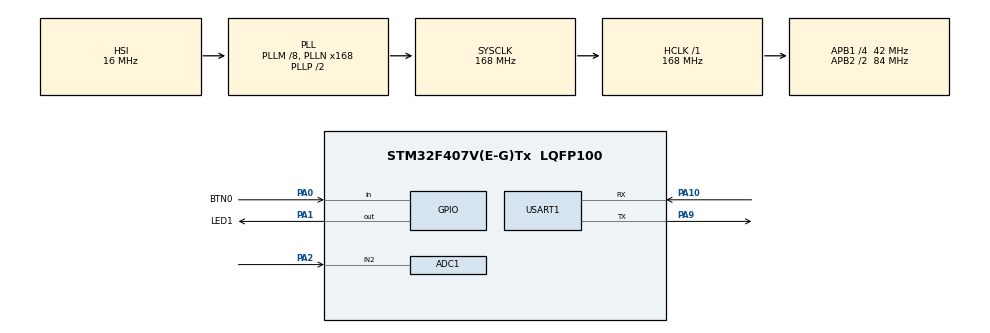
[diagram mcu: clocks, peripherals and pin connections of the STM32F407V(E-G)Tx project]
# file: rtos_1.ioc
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ADC1.Channel-0\#ChannelRegularConversion=ADC_CHANNEL_2
ADC1.NbrOfConversionFlag=1
ADC1.Rank-0\#ChannelRegularConversion=1
ADC1.SamplingTime-0\#ChannelRegularConversion=ADC_SAMPLETIME_3CYCLES
ADC1.master=1
FREERTOS.Tasks01=defaultTask,24,128,StartDefaultTask,Default,NULL,Dynamic,NULL,NULL;buttonTask,24,128,startButtonTask,Default,NULL,Dynamic,NULL,NULL;ledTask,8,128,startLedTask,Default,NULL,Dynamic,NULL,NULL;serialTask,25,128,startSerialTask,Default,NULL,Dynamic,NULL,NULL;adcTask,23,128,startAdcTask,Default,NULL,Dynamic,NULL,NULL
Mcu.Family=STM32F4
Mcu.Name=STM32F407V(E-G)Tx
Mcu.Package=LQFP100
NVIC.PriorityGroup=NVIC_PRIORITYGROUP_4
NVIC.TIM1_UP_TIM10_IRQn=true\:15\:0\:false\:false\:true\:false\:false\:true\:true
NVIC.TimeBase=TIM1_UP_TIM10_IRQn
NVIC.TimeBaseIP=TIM1
PA0-WKUP.GPIO_Label=BTN0
PA0-WKUP.GPIO_PuPd=GPIO_PULLDOWN
PA0-WKUP.Signal=GPIO_Input
PA1.GPIO_Label=LED1
PA1.Signal=GPIO_Output
PA10.Mode=Asynchronous
PA10.Signal=USART1_RX
PA13.Mode=Serial_Wire
PA13.Signal=SYS_JTMS-SWDIO
PA14.Mode=Serial_Wire
PA14.Signal=SYS_JTCK-SWCLK
PA2.Signal=ADCx_IN2
PA9.Mode=Asynchronous
PA9.Signal=USART1_TX
ProjectManager.HeapSize=0x200
ProjectManager.StackSize=0x400
ProjectManager.TargetToolchain=STM32CubeIDE
RCC.48MHZClocksFreq_Value=84000000
RCC.AHBFreq_Value=168000000
RCC.APB1CLKDivider=RCC_HCLK_DIV4
RCC.APB1Freq_Value=42000000
RCC.APB1TimFreq_Value=84000000
RCC.APB2CLKDivider=RCC_HCLK_DIV2
RCC.APB2Freq_Value=84000000
RCC.APB2TimFreq_Value=168000000
RCC.CortexFreq_Value=168000000
RCC.HCLKFreq_Value=168000000
RCC.HSE_VALUE=25000000
RCC.HSI_VALUE=16000000
RCC.LSE_VALUE=32768
RCC.PLLM=8
RCC.PLLN=168
RCC.SYSCLKFreq_VALUE=168000000
RCC.SYSCLKSource=RCC_SYSCLKSOURCE_PLLCLK
RCC.VCOOutputFreq_Value=336000000
SH.ADCx_IN2.0=ADC1_IN2,IN2
USART1.VirtualMode=VM_ASYNC
VP_FREERTOS_VS_CMSIS_V2.Mode=CMSIS_V2
VP_SYS_VS_tim1.Mode=TIM1
board=custom

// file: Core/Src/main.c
/* USER CODE BEGIN Header */
/**
  ******************************************************************************
  * @file           : main.c
  * @brief          : Main program body
  ******************************************************************************
  * @attention
  *
  * Copyright (c) 2024 STMicroelectronics.
  * All rights reserved.
  *
  * This software is licensed under terms that can be found in the LICENSE file
  * in the root directory of this software component.
  * If no LICENSE file comes with this software, it is provided AS-IS.
  *
  ******************************************************************************
  */
/* USER CODE END Header */
#include "main.h"
#include "cmsis_os.h"
#include "stdio.h"

ADC_HandleTypeDef hadc1;

UART_HandleTypeDef huart1;

/* Definitions for defaultTask */
osThreadId_t defaultTaskHandle;
const osThreadAttr_t defaultTask_attributes = {
  .name = "defaultTask",
  .stack_size = 128 * 4,
  .priority = (osPriority_t) osPriorityNormal,
};
/* Definitions for buttonTask */
osThreadId_t buttonTaskHandle;
const osThreadAttr_t buttonTask_attributes = {
  .name = "buttonTask",
  .stack_size = 128 * 4,
  .priority = (osPriority_t) osPriorityNormal,
};
/* Definitions for ledTask */
osThreadId_t ledTaskHandle;
const osThreadAttr_t ledTask_attributes = {
  .name = "ledTask",
  .stack_size = 128 * 4,
  .priority = (osPriority_t) osPriorityLow,
};
/* Definitions for serialTask */
osThreadId_t serialTaskHandle;
const osThreadAttr_t serialTask_attributes = {
  .name = "serialTask",
  .stack_size = 128 * 4,
  .priority = (osPriority_t) osPriorityNormal1,
};
/* Definitions for adcTask */
osThreadId_t adcTaskHandle;
const osThreadAttr_t adcTask_attributes = {
  .name = "adcTask",
  .stack_size = 128 * 4,
  .priority = (osPriority_t) osPriorityBelowNormal7,
};

void SystemClock_Config(void);
static void MX_GPIO_Init(void);
static void MX_ADC1_Init(void);
static void MX_USART1_UART_Init(void);
void StartDefaultTask(void *argument);
void startButtonTask(void *argument);
void startLedTask(void *argument);
void startSerialTask(void *argument);
void startAdcTask(void *argument);

/* USER CODE BEGIN 0 */
uint8_t btn0Pos;
uint8_t serialBtnFlag;
uint8_t x_val;
/* USER CODE END 0 */

int main(void)
{

  /* MCU Configuration--------------------------------------------------------*/

  /* Reset of all peripherals, Initializes the Flash interface and the Systick. */
  HAL_Init();

  /* Configure the system clock */
  SystemClock_Config();

  /* Initialize all configured peripherals */
  MX_GPIO_Init();
  MX_ADC1_Init();
  MX_USART1_UART_Init();

  /* Init scheduler */
  osKernelInitialize();

  /* Create the thread(s) */
  /* creation of defaultTask */
  defaultTaskHandle = osThreadNew(StartDefaultTask, NULL, &defaultTask_attributes);

  /* creation of buttonTask */
  buttonTaskHandle = osThreadNew(startButtonTask, NULL, &buttonTask_attributes);

  /* creation of ledTask */
  ledTaskHandle = osThreadNew(startLedTask, NULL, &ledTask_attributes);

  /* creation of serialTask */
  serialTaskHandle = osThreadNew(startSerialTask, NULL, &serialTask_attributes);

  /* creation of adcTask */
  adcTaskHandle = osThreadNew(startAdcTask, NULL, &adcTask_attributes);

  /* Start scheduler */
  osKernelStart();

  /* We should never get here as control is now taken by the scheduler */

  /* Infinite loop */
  while (1)
  {

  }
}

void SystemClock_Config(void)
{
  RCC_OscInitTypeDef RCC_OscInitStruct = {0};
  RCC_ClkInitTypeDef RCC_ClkInitStruct = {0};

  /** Configure the main internal regulator output voltage
  */
  __HAL_RCC_PWR_CLK_ENABLE();
  __HAL_PWR_VOLTAGESCALING_CONFIG(PWR_REGULATOR_VOLTAGE_SCALE1);

  /** Initializes the RCC Oscillators according to the specified parameters
  * in the RCC_OscInitTypeDef structure.
  */
  RCC_OscInitStruct.OscillatorType = RCC_OSCILLATORTYPE_HSI;
  RCC_OscInitStruct.HSIState = RCC_HSI_ON;
  RCC_OscInitStruct.HSICalibrationValue = RCC_HSICALIBRATION_DEFAULT;
  RCC_OscInitStruct.PLL.PLLState = RCC_PLL_ON;
  RCC_OscInitStruct.PLL.PLLSource = RCC_PLLSOURCE_HSI;
  RCC_OscInitStruct.PLL.PLLM = 8;
  RCC_OscInitStruct.PLL.PLLN = 168;
  RCC_OscInitStruct.PLL.PLLP = RCC_PLLP_DIV2;
  RCC_OscInitStruct.PLL.PLLQ = 4;
  if (HAL_RCC_OscConfig(&RCC_OscInitStruct) != HAL_OK)
  {
    Error_Handler();
  }

  /** Initializes the CPU, AHB and APB buses clocks
  */
  RCC_ClkInitStruct.ClockType = RCC_CLOCKTYPE_HCLK|RCC_CLOCKTYPE_SYSCLK
                              |RCC_CLOCKTYPE_PCLK1|RCC_CLOCKTYPE_PCLK2;
  RCC_ClkInitStruct.SYSCLKSource = RCC_SYSCLKSOURCE_PLLCLK;
  RCC_ClkInitStruct.AHBCLKDivider = RCC_SYSCLK_DIV1;
  RCC_ClkInitStruct.APB1CLKDivider = RCC_HCLK_DIV4;
  RCC_ClkInitStruct.APB2CLKDivider = RCC_HCLK_DIV2;

  if (HAL_RCC_ClockConfig(&RCC_ClkInitStruct, FLASH_LATENCY_5) != HAL_OK)
  {
    Error_Handler();
  }
}

static void MX_ADC1_Init(void)
{

  ADC_ChannelConfTypeDef sConfig = {0};

  /** Configure the global features of the ADC (Clock, Resolution, Data Alignment and number of conversion)
  */
  hadc1.Instance = ADC1;
  hadc1.Init.ClockPrescaler = ADC_CLOCK_SYNC_PCLK_DIV4;
  hadc1.Init.Resolution = ADC_RESOLUTION_12B;
  hadc1.Init.ScanConvMode = DISABLE;
  hadc1.Init.ContinuousConvMode = DISABLE;
  hadc1.Init.DiscontinuousConvMode = DISABLE;
  hadc1.Init.ExternalTrigConvEdge = ADC_EXTERNALTRIGCONVEDGE_NONE;
  hadc1.Init.ExternalTrigConv = ADC_SOFTWARE_START;
  hadc1.Init.DataAlign = ADC_DATAALIGN_RIGHT;
  hadc1.Init.NbrOfConversion = 1;
  hadc1.Init.DMAContinuousRequests = DISABLE;
  hadc1.Init.EOCSelection = ADC_EOC_SINGLE_CONV;
  if (HAL_ADC_Init(&hadc1) != HAL_OK)
  {
    Error_Handler();
  }

  /** Configure for the selected ADC regular channel its corresponding rank in the sequencer and its sample time.
  */
  sConfig.Channel = ADC_CHANNEL_2;
  sConfig.Rank = 1;
  sConfig.SamplingTime = ADC_SAMPLETIME_3CYCLES;
  if (HAL_ADC_ConfigChannel(&hadc1, &sConfig) != HAL_OK)
  {
    Error_Handler();
  }

}

static void MX_USART1_UART_Init(void)
{

  huart1.Instance = USART1;
  huart1.Init.BaudRate = 115200;
  huart1.Init.WordLength = UART_WORDLENGTH_8B;
  huart1.Init.StopBits = UART_STOPBITS_1;
  huart1.Init.Parity = UART_PARITY_NONE;
  huart1.Init.Mode = UART_MODE_TX_RX;
  huart1.Init.HwFlowCtl = UART_HWCONTROL_NONE;
  huart1.Init.OverSampling = UART_OVERSAMPLING_16;
  if (HAL_UART_Init(&huart1) != HAL_OK)
  {
    Error_Handler();
  }

}

static void MX_GPIO_Init(void)
{
  GPIO_InitTypeDef GPIO_InitStruct = {0};

  /* GPIO Ports Clock Enable */
  __HAL_RCC_GPIOA_CLK_ENABLE();

  /*Configure GPIO pin Output Level */
  HAL_GPIO_WritePin(LED1_GPIO_Port, LED1_Pin, GPIO_PIN_RESET);

  /*Configure GPIO pin : BTN0_Pin */
  GPIO_InitStruct.Pin = BTN0_Pin;
  GPIO_InitStruct.Mode = GPIO_MODE_INPUT;
  GPIO_InitStruct.Pull = GPIO_PULLDOWN;
  HAL_GPIO_Init(BTN0_GPIO_Port, &GPIO_InitStruct);

  /*Configure GPIO pin : LED1_Pin */
  GPIO_InitStruct.Pin = LED1_Pin;
  GPIO_InitStruct.Mode = GPIO_MODE_OUTPUT_PP;
  GPIO_InitStruct.Pull = GPIO_NOPULL;
  GPIO_InitStruct.Speed = GPIO_SPEED_FREQ_LOW;
  HAL_GPIO_Init(LED1_GPIO_Port, &GPIO_InitStruct);

}

void StartDefaultTask(void *argument)
{
  for(;;)
  {
    osDelay(1);
  }
}

void startButtonTask(void *argument)
{
  /* USER CODE BEGIN startButtonTask */
  /* Infinite loop */
  for(;;)
  {
    if(HAL_GPIO_ReadPin(BTN0_GPIO_Port, BTN0_Pin) == 0){
    	HAL_GPIO_WritePin(LED1_GPIO_Port, LED1_Pin, 1);
    	btn0Pos = 1;
//	    HAL_GPIO_TogglePin(LED1_GPIO_Port, LED1_Pin);
    }
    if(HAL_GPIO_ReadPin(BTN0_GPIO_Port, BTN0_Pin) == 1){
		HAL_GPIO_WritePin(LED1_GPIO_Port, LED1_Pin, 0);
		btn0Pos = 0;
	}
    osDelay(200);
  }
  /* USER CODE END startButtonTask */
}

void startLedTask(void *argument)
{
  /* USER CODE BEGIN startLedTask */
  /* Infinite loop */
  for(;;)
  {
	if(btn0Pos != 1 || serialBtnFlag == 1){
		HAL_GPIO_TogglePin(LED1_GPIO_Port, LED1_Pin);
		osDelay(100);
	}
	else{
		osDelay(100);
	}
  }
  /* USER CODE END startLedTask */
}

void startSerialTask(void *argument)
{
  /* USER CODE BEGIN startSerialTask */
	uint8_t choice;
	char buffer[100];
  /* Infinite loop */
  for(;;)
  {
	  if (HAL_UART_Receive(&huart1, &choice, sizeof(choice), 50) == HAL_OK){
		  switch(choice){
		  case '0':
				HAL_GPIO_WritePin(LED1_GPIO_Port, LED1_Pin, 1);
				serialBtnFlag = 0;
				break;
		  case '1':
				HAL_GPIO_WritePin(LED1_GPIO_Port, LED1_Pin, 0);
				serialBtnFlag = 1;
				break;
		  case '2':
				sprintf(buffer, "Voltage = %d\r\n",x_val);
				HAL_UART_Transmit(&huart1, buffer, strlen(buffer), 10);
				break;
		  default :
			  break;
		  }
	  	}else{}

	  osDelay(150);
  }
  /* USER CODE END startSerialTask */
}

void startAdcTask(void *argument)
{
  /* USER CODE BEGIN startAdcTask */
  /* Infinite loop */
  for(;;)
  {
	  HAL_ADC_Start(&hadc1);
	  HAL_ADC_PollForConversion(&hadc1, 10);
	  x_val = (HAL_ADC_GetValue(&hadc1));
	  HAL_ADC_Stop(&hadc1);

	  osDelay(100);

  }
  /* USER CODE END startAdcTask */
}

void HAL_TIM_PeriodElapsedCallback(TIM_HandleTypeDef *htim)
{
  if (htim->Instance == TIM1) {
    HAL_IncTick();
  }
}

void Error_Handler(void)
{
  __disable_irq();
  while (1)
  {
  }
}
